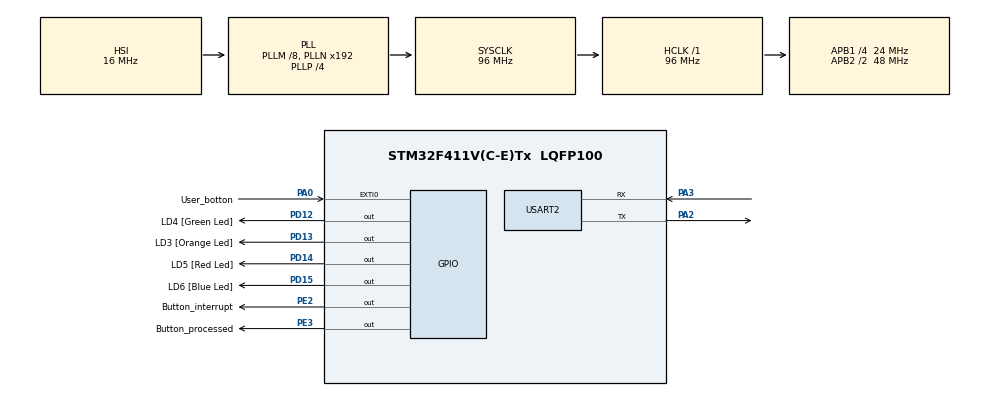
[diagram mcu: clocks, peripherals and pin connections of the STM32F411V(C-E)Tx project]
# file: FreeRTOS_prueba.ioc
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FREERTOS.Events01=Button_Interrupt_Event,Dynamic,NULL
FREERTOS.Queues01=UARTQueue,8,MensajeUART,0,Dynamic,NULL,NULL
FREERTOS.Tasks01=BlinkLED,32,128,StartBlinkLed,Default,NULL,Dynamic,NULL,NULL;Write_UART,24,128,StartWriteUart,Default,NULL,Dynamic,NULL,NULL;Wait_Button,48,128,StartWaitButton,Default,NULL,Dynamic,NULL,NULL
FREERTOS.configENABLE_FPU=1
FREERTOS.configUSE_NEWLIB_REENTRANT=1
Mcu.Family=STM32F4
Mcu.Name=STM32F411V(C-E)Tx
Mcu.Package=LQFP100
NVIC.EXTI0_IRQn=true\:5\:0\:false\:false\:true\:true\:true\:true\:true
NVIC.PriorityGroup=NVIC_PRIORITYGROUP_4
NVIC.TIM1_UP_TIM10_IRQn=true\:15\:0\:false\:false\:true\:false\:false\:true\:true
NVIC.TimeBase=TIM1_UP_TIM10_IRQn
NVIC.TimeBaseIP=TIM1
PA0-WKUP.GPIO_Label=User_botton
PA0-WKUP.GPIO_ModeDefaultEXTI=GPIO_MODE_IT_RISING_FALLING
PA0-WKUP.Signal=GPXTI0
PA13.Mode=Serial_Wire
PA13.Signal=SYS_JTMS-SWDIO
PA14.Mode=Serial_Wire
PA14.Signal=SYS_JTCK-SWCLK
PA2.Mode=Asynchronous
PA2.Signal=USART2_TX
PA3.Mode=Asynchronous
PA3.Signal=USART2_RX
PC14-OSC32_IN.GPIO_Label=PC14-OSC32_IN
PC14-OSC32_IN.Mode=LSE-External-Oscillator
PC14-OSC32_IN.Signal=RCC_OSC32_IN
PC15-OSC32_OUT.GPIO_Label=PC15-OSC32_OUT
PC15-OSC32_OUT.Mode=LSE-External-Oscillator
PC15-OSC32_OUT.Signal=RCC_OSC32_OUT
PD12.GPIO_Label=LD4 [Green Led]
PD12.GPIO_PuPd=GPIO_NOPULL
PD12.GPIO_Speed=GPIO_SPEED_FREQ_LOW
PD12.Signal=GPIO_Output
PD13.GPIO_Label=LD3 [Orange Led]
PD13.GPIO_PuPd=GPIO_NOPULL
PD13.GPIO_Speed=GPIO_SPEED_FREQ_LOW
PD13.Signal=GPIO_Output
PD14.GPIO_Label=LD5 [Red Led]
PD14.GPIO_PuPd=GPIO_NOPULL
PD14.GPIO_Speed=GPIO_SPEED_FREQ_LOW
PD14.Signal=GPIO_Output
PD15.GPIO_Label=LD6 [Blue Led]
PD15.GPIO_PuPd=GPIO_NOPULL
PD15.GPIO_Speed=GPIO_SPEED_FREQ_LOW
PD15.Signal=GPIO_Output
PE2.GPIO_Label=Button_interrupt
PE2.GPIO_Speed=GPIO_SPEED_FREQ_VERY_HIGH
PE2.Signal=GPIO_Output
PE3.GPIO_Label=Button_processed
PE3.GPIO_Speed=GPIO_SPEED_FREQ_VERY_HIGH
PE3.Signal=GPIO_Output
PH0\ -\ OSC_IN.GPIO_Label=PH0-OSC_IN
PH0\ -\ OSC_IN.Mode=HSE-External-Clock-Source
PH0\ -\ OSC_IN.Signal=RCC_OSC_IN
PH1\ -\ OSC_OUT.GPIO_Label=PH1-OSC_OUT
PH1\ -\ OSC_OUT.Mode=HSE-External-Clock-Source
PH1\ -\ OSC_OUT.Signal=RCC_OSC_OUT
ProjectManager.HeapSize=0x200
ProjectManager.StackSize=0x400
ProjectManager.TargetToolchain=STM32CubeIDE
RCC.48MHZClocksFreq_Value=48000000
RCC.AHBFreq_Value=96000000
RCC.APB1CLKDivider=RCC_HCLK_DIV4
RCC.APB1Freq_Value=24000000
RCC.APB1TimFreq_Value=48000000
RCC.APB2CLKDivider=RCC_HCLK_DIV2
RCC.APB2Freq_Value=48000000
RCC.APB2TimFreq_Value=96000000
RCC.CortexFreq_Value=96000000
RCC.HCLKFreq_Value=96000000
RCC.HSE_VALUE=8000000
RCC.HSI_VALUE=16000000
RCC.PLLI2SM=5
RCC.PLLI2SN=200
RCC.PLLM=8
RCC.PLLP=RCC_PLLP_DIV4
RCC.PLLQ=8
RCC.SYSCLKFreq_VALUE=96000000
RCC.SYSCLKSource=RCC_SYSCLKSOURCE_PLLCLK
RCC.VCOOutputFreq_Value=384000000
USART2.VirtualMode=VM_ASYNC
VP_FREERTOS_VS_CMSIS_V2.Mode=CMSIS_V2
VP_SYS_VS_tim1.Mode=TIM1
board=STM32F411E-DISCO

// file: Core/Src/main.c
/* USER CODE BEGIN Header */
/**
  ******************************************************************************
  * @file           : main.c
  * @brief          : Main program body
  ******************************************************************************
  * @attention
  *
  * Copyright (c) 2022 STMicroelectronics.
  * All rights reserved.
  *
  * This software is licensed under terms that can be found in the LICENSE file
  * in the root directory of this software component.
  * If no LICENSE file comes with this software, it is provided AS-IS.
  *
  ******************************************************************************
  */
/* USER CODE END Header */
#include "main.h"
#include "cmsis_os.h"

/* USER CODE BEGIN Includes */
#include <string.h>
#include <stdio.h>
#include <stdatomic.h>
#include <stdbool.h>
/* USER CODE END Includes */

 UART_HandleTypeDef huart2;

/* Definitions for BlinkLED */
osThreadId_t BlinkLEDHandle;
const osThreadAttr_t BlinkLED_attributes = {
  .name = "BlinkLED",
  .stack_size = 128 * 4,
  .priority = (osPriority_t) osPriorityAboveNormal,
};
/* Definitions for Write_UART */
osThreadId_t Write_UARTHandle;
const osThreadAttr_t Write_UART_attributes = {
  .name = "Write_UART",
  .stack_size = 128 * 4,
  .priority = (osPriority_t) osPriorityNormal,
};
/* Definitions for Wait_Button */
osThreadId_t Wait_ButtonHandle;
const osThreadAttr_t Wait_Button_attributes = {
  .name = "Wait_Button",
  .stack_size = 128 * 4,
  .priority = (osPriority_t) osPriorityRealtime,
};
/* Definitions for UARTQueue */
osMessageQueueId_t UARTQueueHandle;
const osMessageQueueAttr_t UARTQueue_attributes = {
  .name = "UARTQueue"
};
/* Definitions for Button_Interrupt_Event */
osEventFlagsId_t Button_Interrupt_EventHandle;
const osEventFlagsAttr_t Button_Interrupt_Event_attributes = {
  .name = "Button_Interrupt_Event"
};

void SystemClock_Config(void);
static void MX_GPIO_Init(void);
static void MX_USART2_UART_Init(void);
void StartBlinkLed(void *argument);
void StartWriteUart(void *argument);
void StartWaitButton(void *argument);

/* USER CODE BEGIN 0 */
typedef struct {
	char data[32];
}MensajeUART;

atomic_bool boton;

/* USER CODE END 0 */

int main(void)
{
  /* USER CODE BEGIN 1 */
atomic_init(&boton, 0);
  /* USER CODE END 1 */

  /* MCU Configuration--------------------------------------------------------*/

  /* Reset of all peripherals, Initializes the Flash interface and the Systick. */
  HAL_Init();

  /* Configure the system clock */
  SystemClock_Config();

  /* Initialize all configured peripherals */
  MX_GPIO_Init();
  MX_USART2_UART_Init();

  /* Init scheduler */
  osKernelInitialize();

  /* Create the queue(s) */
  /* creation of UARTQueue */
  UARTQueueHandle = osMessageQueueNew (8, sizeof(MensajeUART), &UARTQueue_attributes);

  /* Create the thread(s) */
  /* creation of BlinkLED */
  BlinkLEDHandle = osThreadNew(StartBlinkLed, NULL, &BlinkLED_attributes);

  /* creation of Write_UART */
  Write_UARTHandle = osThreadNew(StartWriteUart, NULL, &Write_UART_attributes);

  /* creation of Wait_Button */
  Wait_ButtonHandle = osThreadNew(StartWaitButton, NULL, &Wait_Button_attributes);

  /* Create the event(s) */
  /* creation of Button_Interrupt_Event */
  Button_Interrupt_EventHandle = osEventFlagsNew(&Button_Interrupt_Event_attributes);

  /* Start scheduler */
  osKernelStart();

  /* We should never get here as control is now taken by the scheduler */
  /* Infinite loop */
  while (1)
  {

  }
}

void SystemClock_Config(void)
{
  RCC_OscInitTypeDef RCC_OscInitStruct = {0};
  RCC_ClkInitTypeDef RCC_ClkInitStruct = {0};

  /** Configure the main internal regulator output voltage
  */
  __HAL_RCC_PWR_CLK_ENABLE();
  __HAL_PWR_VOLTAGESCALING_CONFIG(PWR_REGULATOR_VOLTAGE_SCALE1);

  /** Initializes the RCC Oscillators according to the specified parameters
  * in the RCC_OscInitTypeDef structure.
  */
  RCC_OscInitStruct.OscillatorType = RCC_OSCILLATORTYPE_HSI;
  RCC_OscInitStruct.HSIState = RCC_HSI_ON;
  RCC_OscInitStruct.HSICalibrationValue = RCC_HSICALIBRATION_DEFAULT;
  RCC_OscInitStruct.PLL.PLLState = RCC_PLL_ON;
  RCC_OscInitStruct.PLL.PLLSource = RCC_PLLSOURCE_HSI;
  RCC_OscInitStruct.PLL.PLLM = 8;
  RCC_OscInitStruct.PLL.PLLN = 192;
  RCC_OscInitStruct.PLL.PLLP = RCC_PLLP_DIV4;
  RCC_OscInitStruct.PLL.PLLQ = 8;
  if (HAL_RCC_OscConfig(&RCC_OscInitStruct) != HAL_OK)
  {
    Error_Handler();
  }

  /** Initializes the CPU, AHB and APB buses clocks
  */
  RCC_ClkInitStruct.ClockType = RCC_CLOCKTYPE_HCLK|RCC_CLOCKTYPE_SYSCLK
                              |RCC_CLOCKTYPE_PCLK1|RCC_CLOCKTYPE_PCLK2;
  RCC_ClkInitStruct.SYSCLKSource = RCC_SYSCLKSOURCE_PLLCLK;
  RCC_ClkInitStruct.AHBCLKDivider = RCC_SYSCLK_DIV1;
  RCC_ClkInitStruct.APB1CLKDivider = RCC_HCLK_DIV4;
  RCC_ClkInitStruct.APB2CLKDivider = RCC_HCLK_DIV2;

  if (HAL_RCC_ClockConfig(&RCC_ClkInitStruct, FLASH_LATENCY_3) != HAL_OK)
  {
    Error_Handler();
  }
}

static void MX_USART2_UART_Init(void)
{

  huart2.Instance = USART2;
  huart2.Init.BaudRate = 115200;
  huart2.Init.WordLength = UART_WORDLENGTH_8B;
  huart2.Init.StopBits = UART_STOPBITS_1;
  huart2.Init.Parity = UART_PARITY_NONE;
  huart2.Init.Mode = UART_MODE_TX_RX;
  huart2.Init.HwFlowCtl = UART_HWCONTROL_NONE;
  huart2.Init.OverSampling = UART_OVERSAMPLING_16;
  if (HAL_UART_Init(&huart2) != HAL_OK)
  {
    Error_Handler();
  }

}

static void MX_GPIO_Init(void)
{
  GPIO_InitTypeDef GPIO_InitStruct = {0};

  /* GPIO Ports Clock Enable */
  __HAL_RCC_GPIOE_CLK_ENABLE();
  __HAL_RCC_GPIOC_CLK_ENABLE();
  __HAL_RCC_GPIOH_CLK_ENABLE();
  __HAL_RCC_GPIOA_CLK_ENABLE();
  __HAL_RCC_GPIOD_CLK_ENABLE();

  /*Configure GPIO pin Output Level */
  HAL_GPIO_WritePin(GPIOE, Button_interrupt_Pin|Button_processed_Pin, GPIO_PIN_RESET);

  /*Configure GPIO pin Output Level */
  HAL_GPIO_WritePin(GPIOD, LD4_Pin|LD3_Pin|LD5_Pin|LD6_Pin, GPIO_PIN_RESET);

  /*Configure GPIO pins : Button_interrupt_Pin Button_processed_Pin */
  GPIO_InitStruct.Pin = Button_interrupt_Pin|Button_processed_Pin;
  GPIO_InitStruct.Mode = GPIO_MODE_OUTPUT_PP;
  GPIO_InitStruct.Pull = GPIO_NOPULL;
  GPIO_InitStruct.Speed = GPIO_SPEED_FREQ_VERY_HIGH;
  HAL_GPIO_Init(GPIOE, &GPIO_InitStruct);

  /*Configure GPIO pin : User_botton_Pin */
  GPIO_InitStruct.Pin = User_botton_Pin;
  GPIO_InitStruct.Mode = GPIO_MODE_IT_RISING_FALLING;
  GPIO_InitStruct.Pull = GPIO_NOPULL;
  HAL_GPIO_Init(User_botton_GPIO_Port, &GPIO_InitStruct);

  /*Configure GPIO pins : LD4_Pin LD3_Pin LD5_Pin LD6_Pin */
  GPIO_InitStruct.Pin = LD4_Pin|LD3_Pin|LD5_Pin|LD6_Pin;
  GPIO_InitStruct.Mode = GPIO_MODE_OUTPUT_PP;
  GPIO_InitStruct.Pull = GPIO_NOPULL;
  GPIO_InitStruct.Speed = GPIO_SPEED_FREQ_LOW;
  HAL_GPIO_Init(GPIOD, &GPIO_InitStruct);

  /* EXTI interrupt init*/
  HAL_NVIC_SetPriority(EXTI0_IRQn, 5, 0);
  HAL_NVIC_EnableIRQ(EXTI0_IRQn);

}

/* USER CODE BEGIN 4 */
void HAL_GPIO_EXTI_Callback(uint16_t GPIO_Pin) {
	if (GPIO_Pin == User_botton_Pin) {
		osThreadFlagsSet(Wait_ButtonHandle, 1);
	}
}

void ComprobarEstado (int estado){
	if (estado){
		Error_Handler();
	}
}

MensajeUART Formato_Mensaje(int trigger, bool boton_pulsado){
	MensajeUART mensaje;
	snprintf(mensaje.data, sizeof(mensaje.data),"El botón está a %i (%i)", boton_pulsado, trigger);
	return mensaje;
}
/* USER CODE END 4 */

void StartBlinkLed(void *argument)
{
  /* USER CODE BEGIN 5 */
  /* Infinite loop */
  for(;;)
  {
    osDelay(100);
    if (atomic_load(&boton) == GPIO_PIN_RESET) {
    	HAL_GPIO_WritePin(GPIOD, LD4_Pin, GPIO_PIN_SET);
    }
    osDelay(100);
    HAL_GPIO_WritePin(GPIOD, LD4_Pin, GPIO_PIN_RESET);
  }
  /* USER CODE END 5 */
}

void StartWriteUart(void *argument)
{
  /* USER CODE BEGIN StartWriteUart */
  /* Infinite loop */
  for(;;)
  {
	MensajeUART mensaje;
	ComprobarEstado(osMessageQueueGet(UARTQueueHandle, &mensaje, 0, osWaitForever));
	size_t tamaño_mensaje = strnlen(mensaje.data, sizeof(mensaje.data));
	ComprobarEstado(HAL_UART_Transmit(&huart2, (uint8_t*) &mensaje.data, (uint16_t) tamaño_mensaje, 1000));
    //osDelay(1);
  }
  /* USER CODE END StartWriteUart */
}

void StartWaitButton(void *argument)
{
  /* USER CODE BEGIN StartWaitButton */
	int trigger = 0;
	MensajeUART mensaje;
  /* Infinite loop */
  for(;;)
  {
	//Reaccionar solo a rising edge
	EXTI->RTSR |= User_botton_Pin;
	EXTI->FTSR &= ~User_botton_Pin;

	HAL_GPIO_WritePin(GPIOE, Button_processed_Pin, GPIO_PIN_RESET);
	osThreadFlagsWait(1, osFlagsWaitAny, osWaitForever);
	HAL_GPIO_WritePin(GPIOE, Button_processed_Pin, GPIO_PIN_SET);
    trigger++;

    atomic_store(&boton, 1);
    mensaje = Formato_Mensaje(trigger, true);
    ComprobarEstado(osMessageQueuePut(UARTQueueHandle, &mensaje, 0, osWaitForever));

    //Reccionar solo a falling edge
    EXTI->FTSR |= User_botton_Pin;
    EXTI->RTSR &= ~User_botton_Pin;

    HAL_GPIO_WritePin(GPIOE, Button_processed_Pin, GPIO_PIN_RESET);
	osThreadFlagsWait(1, osFlagsWaitAny, osWaitForever);
	HAL_GPIO_WritePin(GPIOE, Button_processed_Pin, GPIO_PIN_SET);
	trigger++;

	 atomic_store(&boton, 0);
	 mensaje = Formato_Mensaje(trigger, false);
	 ComprobarEstado(osMessageQueuePut(UARTQueueHandle, &mensaje, 0, osWaitForever));
  }
  /* USER CODE END StartWaitButton */
}

void HAL_TIM_PeriodElapsedCallback(TIM_HandleTypeDef *htim)
{
  if (htim->Instance == TIM1) {
    HAL_IncTick();
  }
}

void Error_Handler(void)
{
  /* USER CODE BEGIN Error_Handler_Debug */
  /* User can add his own implementation to report the HAL error return state */
  __disable_irq();
  while (1)
  {
	  __BKPT(0);
  }
  /* USER CODE END Error_Handler_Debug */
}
